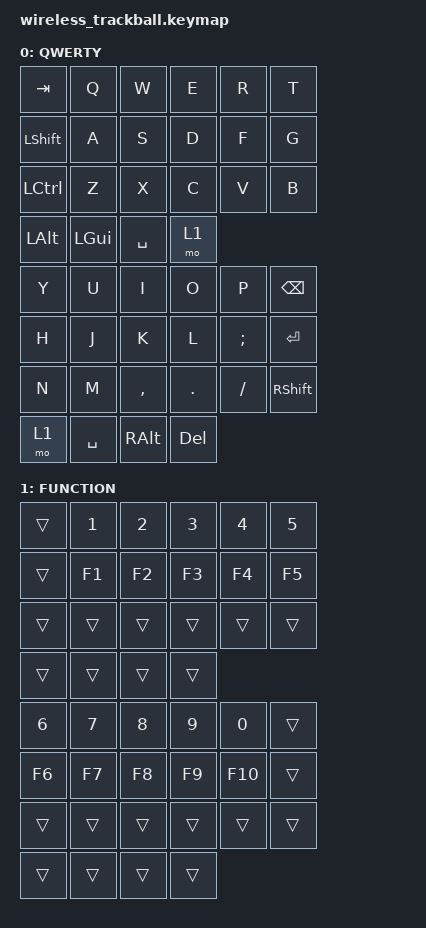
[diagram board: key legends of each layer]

#include <behaviors.dtsi>
#include <dt-bindings/zmk/keys.h>
#include <dt-bindings/zmk/bt.h>

/ {
    keymap {
        compatible = "zmk,keymap";

        default_layer {
            display-name = "QWERTY";

            bindings = <
                // Left half: 6 + 6 + 6 + 4 keys
                &kp TAB  &kp Q &kp W &kp E &kp R &kp T
                &kp LSHFT &kp A &kp S &kp D &kp F &kp G
                &kp LCTRL &kp Z &kp X &kp C &kp V &kp B
                &kp LALT &kp LGUI &kp SPACE &mo 1

                // Right half: 6 + 6 + 6 + 4 keys
                &kp Y &kp U &kp I &kp O &kp P &kp BSPC
                &kp H &kp J &kp K &kp L &kp SEMI &kp RET
                &kp N &kp M &kp COMMA &kp DOT &kp FSLH &kp RSHFT
                &mo 1 &kp SPACE &kp RALT &kp DEL
            >;
        };

        function_layer {
            display-name = "FUNCTION";

            bindings = <
                // Left half
                &trans &kp N1 &kp N2 &kp N3 &kp N4 &kp N5
                &trans &kp F1 &kp F2 &kp F3 &kp F4 &kp F5
                &trans &trans &trans &trans &trans &trans
                &trans &trans &trans &trans

                // Right half
                &kp N6 &kp N7 &kp N8 &kp N9 &kp N0 &trans
                &kp F6 &kp F7 &kp F8 &kp F9 &kp F10 &trans
                &trans &trans &trans &trans &trans &trans
                &trans &trans &trans &trans
            >;
        };
    };
};
